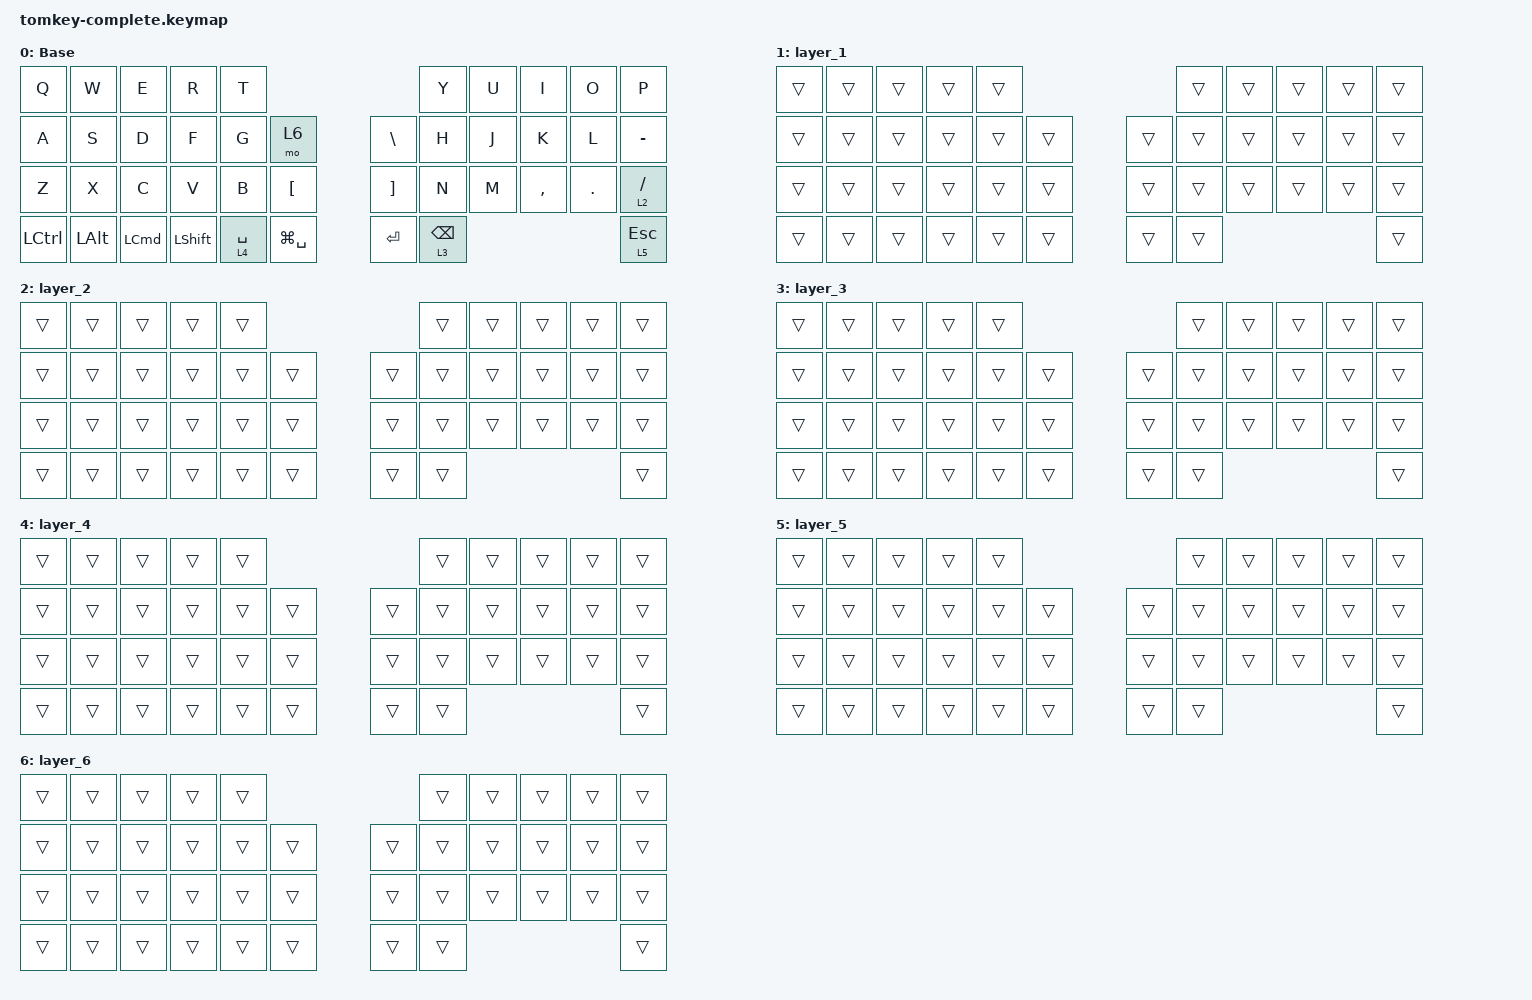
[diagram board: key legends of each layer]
/*
 * Tomkey - Self-contained keymap with inline layout
 */

#include <behaviors.dtsi>
#include <dt-bindings/zmk/bt.h>
#include <dt-bindings/zmk/keys.h>
#include <dt-bindings/zmk/mouse.h>
#include <physical_layouts.dtsi>

/ {
    chosen {
        zmk,physical-layout = &tomkey_layout;
    };

    tomkey_layout: tomkey_layout {
        compatible = "zmk,physical-layout";
        display-name = "Tomkey Default";

        keys  //                     w   h    x    y     rot    rx    ry
            = <&key_physical_attrs 100 100    0    0       0     0     0>  // Q
            , <&key_physical_attrs 100 100  100    0       0     0     0>  // W
            , <&key_physical_attrs 100 100  200    0       0     0     0>  // E
            , <&key_physical_attrs 100 100  300    0       0     0     0>  // R
            , <&key_physical_attrs 100 100  400    0       0     0     0>  // T
            
            , <&key_physical_attrs 100 100  800    0       0     0     0>  // Y
            , <&key_physical_attrs 100 100  900    0       0     0     0>  // U
            , <&key_physical_attrs 100 100 1000    0       0     0     0>  // I
            , <&key_physical_attrs 100 100 1100    0       0     0     0>  // O
            , <&key_physical_attrs 100 100 1200    0       0     0     0>  // P

            , <&key_physical_attrs 100 100    0  100       0     0     0>  // A
            , <&key_physical_attrs 100 100  100  100       0     0     0>  // S
            , <&key_physical_attrs 100 100  200  100       0     0     0>  // D
            , <&key_physical_attrs 100 100  300  100       0     0     0>  // F
            , <&key_physical_attrs 100 100  400  100       0     0     0>  // G
            , <&key_physical_attrs 100 100  500  100       0     0     0>  // MO6
            
            , <&key_physical_attrs 100 100  700  100       0     0     0>  // Backslash
            , <&key_physical_attrs 100 100  800  100       0     0     0>  // H
            , <&key_physical_attrs 100 100  900  100       0     0     0>  // J
            , <&key_physical_attrs 100 100 1000  100       0     0     0>  // K
            , <&key_physical_attrs 100 100 1100  100       0     0     0>  // L
            , <&key_physical_attrs 100 100 1200  100       0     0     0>  // Minus

            , <&key_physical_attrs 100 100    0  200       0     0     0>  // Z
            , <&key_physical_attrs 100 100  100  200       0     0     0>  // X
            , <&key_physical_attrs 100 100  200  200       0     0     0>  // C
            , <&key_physical_attrs 100 100  300  200       0     0     0>  // V
            , <&key_physical_attrs 100 100  400  200       0     0     0>  // B
            , <&key_physical_attrs 100 100  500  200       0     0     0>  // Left bracket
            
            , <&key_physical_attrs 100 100  700  200       0     0     0>  // Right bracket
            , <&key_physical_attrs 100 100  800  200       0     0     0>  // N
            , <&key_physical_attrs 100 100  900  200       0     0     0>  // M
            , <&key_physical_attrs 100 100 1000  200       0     0     0>  // Comma
            , <&key_physical_attrs 100 100 1100  200       0     0     0>  // Dot
            , <&key_physical_attrs 100 100 1200  200       0     0     0>  // LT2 Slash

            , <&key_physical_attrs 100 100    0  300       0     0     0>  // LCtrl
            , <&key_physical_attrs 100 100  100  300       0     0     0>  // LAlt
            , <&key_physical_attrs 100 100  200  300       0     0     0>  // LCmd
            , <&key_physical_attrs 100 100  300  300       0     0     0>  // LShift
            , <&key_physical_attrs 100 100  400  300       0     0     0>  // LT4 Space
            , <&key_physical_attrs 100 100  500  300       0     0     0>  // Cmd+Space
            
            , <&key_physical_attrs 100 100  700  300       0     0     0>  // Enter
            , <&key_physical_attrs 100 100  800  300       0     0     0>  // LT3 Backspace
            
            , <&key_physical_attrs 100 100 1200  300       0     0     0>  // LT5 Escape
            ;
    };

    keymap {
        compatible = "zmk,keymap";

        default_layer {
            display-name = "Base";
            bindings = <
&kp Q      &kp W         &kp E             &kp R           &kp T                                                 &kp Y            &kp U     &kp I         &kp O    &kp P
&kp A      &kp S         &kp D             &kp F           &kp G        &mo 6                 &kp BACKSLASH      &kp H            &kp J     &kp K         &kp L    &kp MINUS
&kp Z      &kp X         &kp C             &kp V           &kp B        &kp LEFT_BRACKET      &kp RIGHT_BRACKET  &kp N            &kp M     &kp COMMA     &kp DOT  &lt 2 SLASH
&kp LCTRL  &kp LEFT_ALT  &kp LEFT_COMMAND  &kp LEFT_SHIFT  &lt 4 SPACE  &kp LG(SPACE)         &kp ENTER          &lt 3 BACKSPACE                                   &lt 5 ESCAPE
            >;
        };

        layer_1 {
            bindings = <
&trans  &trans  &trans  &trans  &trans                      &trans  &trans  &trans  &trans  &trans
&trans  &trans  &trans  &trans  &trans  &trans      &trans  &trans  &trans  &trans  &trans  &trans
&trans  &trans  &trans  &trans  &trans  &trans      &trans  &trans  &trans  &trans  &trans  &trans
&trans  &trans  &trans  &trans  &trans  &trans      &trans  &trans                          &trans
            >;
        };

        layer_2 {
            bindings = <
&trans  &trans  &trans  &trans  &trans                      &trans  &trans  &trans  &trans  &trans
&trans  &trans  &trans  &trans  &trans  &trans      &trans  &trans  &trans  &trans  &trans  &trans
&trans  &trans  &trans  &trans  &trans  &trans      &trans  &trans  &trans  &trans  &trans  &trans
&trans  &trans  &trans  &trans  &trans  &trans      &trans  &trans                          &trans
            >;
        };

        layer_3 {
            bindings = <
&trans  &trans  &trans  &trans  &trans                      &trans  &trans  &trans  &trans  &trans
&trans  &trans  &trans  &trans  &trans  &trans      &trans  &trans  &trans  &trans  &trans  &trans
&trans  &trans  &trans  &trans  &trans  &trans      &trans  &trans  &trans  &trans  &trans  &trans
&trans  &trans  &trans  &trans  &trans  &trans      &trans  &trans                          &trans
            >;
        };

        layer_4 {
            bindings = <
&trans  &trans  &trans  &trans  &trans                      &trans  &trans  &trans  &trans  &trans
&trans  &trans  &trans  &trans  &trans  &trans      &trans  &trans  &trans  &trans  &trans  &trans
&trans  &trans  &trans  &trans  &trans  &trans      &trans  &trans  &trans  &trans  &trans  &trans
&trans  &trans  &trans  &trans  &trans  &trans      &trans  &trans                          &trans
            >;
        };

        layer_5 {
            bindings = <
&trans  &trans  &trans  &trans  &trans                      &trans  &trans  &trans  &trans  &trans
&trans  &trans  &trans  &trans  &trans  &trans      &trans  &trans  &trans  &trans  &trans  &trans
&trans  &trans  &trans  &trans  &trans  &trans      &trans  &trans  &trans  &trans  &trans  &trans
&trans  &trans  &trans  &trans  &trans  &trans      &trans  &trans                          &trans
            >;
        };

        layer_6 {
            bindings = <
&trans  &trans  &trans  &trans  &trans                      &trans  &trans  &trans  &trans  &trans
&trans  &trans  &trans  &trans  &trans  &trans      &trans  &trans  &trans  &trans  &trans  &trans
&trans  &trans  &trans  &trans  &trans  &trans      &trans  &trans  &trans  &trans  &trans  &trans
&trans  &trans  &trans  &trans  &trans  &trans      &trans  &trans                          &trans
            >;
        };
    };
};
